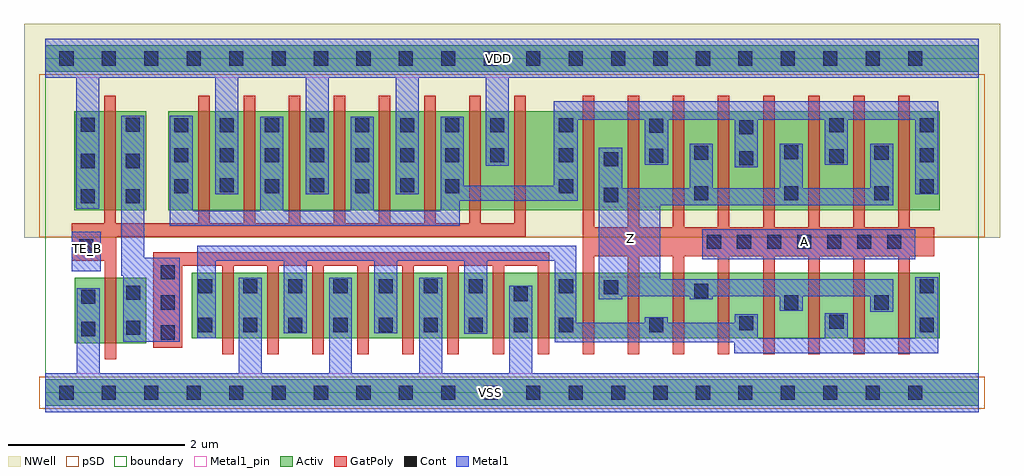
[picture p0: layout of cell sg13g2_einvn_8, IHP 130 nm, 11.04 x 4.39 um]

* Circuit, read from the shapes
.subckt sg13g2_einvn_8 A TE_B VDD VSS Z
XM1 n1 TE_B VSS VSS sg13_lv_nmos w=0.74u l=0.13u
XM2 VSS n1 n2 VSS sg13_lv_nmos w=0.74u l=0.13u m=8
XM3 Z A n2 VSS sg13_lv_nmos w=0.74u l=0.13u m=8
XM4 n1 TE_B VDD VDD sg13_lv_pmos w=1.12u l=0.13u
XM5 VDD TE_B n3 VDD sg13_lv_pmos w=1.12u l=0.13u m=8
XM6 Z A n3 VDD sg13_lv_pmos w=1.12u l=0.13u m=8
.ends

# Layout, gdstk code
import gdstk
lib = gdstk.Library(unit=1e-6, precision=1e-09)
def R(c, l, rs):  # rectangles x0, y0, x1, y1
    for r in rs: c.add(gdstk.rectangle(r[:2], r[2:], *l))
def A(c, l, x, y, w, h, nx, ny, dx, dy):  # array of equal rectangles
    R(c, l, [(x+i*dx, y+j*dy, x+i*dx+w, y+j*dy+h) for i in range(nx) for j in range(ny)])
def P(c, l, *ps):  # polygons
    for p in ps: c.add(gdstk.Polygon(p, *l))
Activ = (1, 0)
GatPoly = (5, 0)
Cont = (6, 0)
Metal1 = (8, 0)
Metal1_pin = (8, 2)
pSD = (14, 0)
NWell = (31, 0)
boundary = (189, 4)

sg13g2_einvn_8 = lib.new_cell('sg13g2_einvn_8')
R(sg13g2_einvn_8, Activ, [(0,-0.15,10.56,0.15), (0.335,0.56,1.145,1.3), (1.66,0.615,10.12,1.355), (0.33,2.06,1.14,3.18), (1.39,2.06,10.12,3.18), (0,3.63,10.56,3.93)])
P(sg13g2_einvn_8, GatPoly, [(6.08,0.435),(6.08,3.36),(6.21,3.36),(6.21,1.87),(6.59,1.87),(6.59,3.36),(6.72,3.36),(6.72,1.87),(7.1,1.87),(7.1,3.36),(7.23,3.36),(7.23,1.87),(7.61,1.87),(7.61,3.36),(7.74,3.36),(7.74,1.87),(8.12,1.87),(8.12,3.36),(8.25,3.36),(8.25,1.87),(8.63,1.87),(8.63,3.36),(8.76,3.36),(8.76,1.87),(9.14,1.87),(9.14,3.36),(9.27,3.36),(9.27,1.87),(9.65,1.87),(9.65,3.36),(9.78,3.36),(9.78,1.87),(10.055,1.87),(10.055,1.54),(9.78,1.54),(9.78,0.435),(9.65,0.435),(9.65,1.54),(9.27,1.54),(9.27,0.435),(9.14,0.435),(9.14,1.54),(8.76,1.54),(8.76,0.435),(8.63,0.435),(8.63,1.54),(8.25,1.54),(8.25,0.435),(8.12,0.435),(8.12,1.54),(7.74,1.54),(7.74,0.435),(7.61,0.435),(7.61,1.54),(7.23,1.54),(7.23,0.435),(7.1,0.435),(7.1,1.54),(6.72,1.54),(6.72,0.435),(6.59,0.435),(6.59,1.54),(6.21,1.54),(6.21,0.435)],
  [(2,0.435),(2,1.435),(1.55,1.435),(1.55,0.51),(1.22,0.51),(1.22,1.585),(5.7,1.585),(5.7,0.435),(5.57,0.435),(5.57,1.435),(5.19,1.435),(5.19,0.435),(5.06,0.435),(5.06,1.435),(4.68,1.435),(4.68,0.435),(4.55,0.435),(4.55,1.435),(4.17,1.435),(4.17,0.435),(4.04,0.435),(4.04,1.435),(3.66,1.435),(3.66,0.435),(3.53,0.435),(3.53,1.435),(3.15,1.435),(3.15,0.435),(3.02,0.435),(3.02,1.435),(2.64,1.435),(2.64,0.435),(2.51,0.435),(2.51,1.435),(2.13,1.435),(2.13,0.435)],
  [(0.675,0.38),(0.675,1.49),(0.3,1.49),(0.3,1.915),(0.67,1.915),(0.67,3.36),(0.8,3.36),(0.8,1.915),(1.73,1.915),(1.73,3.36),(1.86,3.36),(1.86,1.915),(2.245,1.915),(2.245,3.36),(2.375,3.36),(2.375,1.915),(2.755,1.915),(2.755,3.36),(2.885,3.36),(2.885,1.915),(3.265,1.915),(3.265,3.36),(3.395,3.36),(3.395,1.915),(3.775,1.915),(3.775,3.36),(3.905,3.36),(3.905,1.915),(4.285,1.915),(4.285,3.36),(4.415,3.36),(4.415,1.915),(4.795,1.915),(4.795,3.36),(4.925,3.36),(4.925,1.915),(5.305,1.915),(5.305,3.36),(5.435,3.36),(5.435,1.765),(0.805,1.765),(0.805,0.38)])
A(sg13g2_einvn_8, Cont, 0.16, -0.08, 0.16, 0.16, 21, 2, 0.48, 3.78)
A(sg13g2_einvn_8, Cont, 1.305, 0.6, 0.16, 0.16, 1, 3, 0, 0.34)
A(sg13g2_einvn_8, Cont, 1.73, 0.685, 0.16, 0.16, 9, 1, 0.51, 0)
A(sg13g2_einvn_8, Cont, 1.73, 1.125, 0.16, 0.16, 7, 1, 0.51, 0)
A(sg13g2_einvn_8, Cont, 7.485, 1.625, 0.16, 0.16, 7, 1, 0.34, 0)
A(sg13g2_einvn_8, Cont, 7.34, 2.175, 0.16, 0.16, 3, 1, 1.02, 0)
A(sg13g2_einvn_8, Cont, 2.485, 2.255, 0.16, 0.16, 3, 1, 1.02, 0)
A(sg13g2_einvn_8, Cont, 1.975, 2.265, 0.16, 0.16, 3, 1, 1.02, 0)
A(sg13g2_einvn_8, Cont, 1.975, 2.605, 0.16, 0.16, 7, 2, 0.51, 0.34)
R(sg13g2_einvn_8, Cont, [(0.405,0.64,0.565,0.8), (0.915,0.655,1.075,0.815), (6.83,0.685,6.99,0.845), (9.89,0.685,10.05,0.845), (7.85,0.705,8.01,0.865), (8.87,0.72,9.03,0.88), (8.36,0.94,8.52,1.1), (9.38,0.94,9.54,1.1), (0.405,1.005,0.565,1.165), (5.3,1.035,5.46,1.195), (0.915,1.05,1.075,1.21), (7.34,1.07,7.5,1.23), (6.32,1.11,6.48,1.27), (5.81,1.125,5.97,1.285), (9.89,1.125,10.05,1.285), (0.385,1.575,0.545,1.735), (0.4,2.14,0.56,2.3), (0.91,2.14,1.07,2.3), (6.32,2.155,6.48,2.315), (1.46,2.255,1.62,2.415), (5.81,2.255,5.97,2.415), (9.89,2.255,10.05,2.415), (0.4,2.54,0.56,2.7), (0.91,2.54,1.07,2.7), (6.32,2.56,6.48,2.72), (7.85,2.57,8.01,2.73), (8.87,2.595,9.03,2.755), (6.83,2.6,6.99,2.76), (1.46,2.605,1.62,2.765), (5.81,2.605,5.97,2.765), (9.89,2.605,10.05,2.765), (7.34,2.635,7.5,2.795), (9.38,2.635,9.54,2.795), (8.36,2.64,8.52,2.8), (7.85,2.92,8.01,3.08), (6.83,2.94,6.99,3.1), (1.46,2.945,1.62,3.105), (5.81,2.945,5.97,3.105), (8.87,2.945,9.03,3.105), (9.89,2.945,10.05,3.105), (0.4,2.95,0.56,3.11), (0.91,2.95,1.07,3.11)])
R(sg13g2_einvn_8, Metal1, [(0.3,1.37,0.63,1.82), (7.43,1.51,9.84,1.845)])
P(sg13g2_einvn_8, Metal1, [(0,-0.22),(0,0.22),(0.355,0.22),(0.355,1.18),(0.615,1.18),(0.615,0.22),(2.19,0.22),(2.19,1.3),(2.45,1.3),(2.45,0.22),(3.21,0.22),(3.21,1.3),(3.47,1.3),(3.47,0.22),(4.23,0.22),(4.23,1.3),(4.49,1.3),(4.49,0.22),(5.25,0.22),(5.25,1.21),(5.51,1.21),(5.51,0.22),(10.56,0.22),(10.56,-0.22)],
  [(0.35,2.08),(0.35,3.56),(0,3.56),(0,4),(10.56,4),(10.56,3.56),(5.245,3.56),(5.245,2.565),(4.985,2.565),(4.985,3.56),(4.225,3.56),(4.225,2.245),(3.965,2.245),(3.965,3.56),(3.205,3.56),(3.205,2.245),(2.945,2.245),(2.945,3.56),(2.185,3.56),(2.185,2.245),(1.925,2.245),(1.925,3.56),(0.61,3.56),(0.61,2.08)],
  [(7.795,0.445),(7.795,0.57),(5.765,0.57),(5.765,1.49),(5,1.49),(5,0.665),(4.74,0.665),(4.74,1.49),(3.98,1.49),(3.98,0.67),(3.72,0.67),(3.72,1.49),(2.96,1.49),(2.96,0.67),(2.7,0.67),(2.7,1.49),(1.93,1.49),(1.93,0.615),(1.72,0.615),(1.72,1.66),(6.005,1.66),(6.005,0.79),(6.78,0.79),(6.78,0.855),(7.04,0.855),(7.04,0.79),(7.8,0.79),(7.8,0.885),(8.06,0.885),(8.06,0.615),(8.82,0.615),(8.82,0.9),(9.08,0.9),(9.08,0.615),(9.84,0.615),(9.84,1.305),(10.1,1.305),(10.1,0.445)],
  [(1.41,1.885),(1.41,3.13),(1.67,3.13),(1.67,2.055),(2.435,2.055),(2.435,3.12),(2.695,3.12),(2.695,2.055),(3.455,2.055),(3.455,3.12),(3.715,3.12),(3.715,2.055),(4.475,2.055),(4.475,3.12),(4.735,3.12),(4.735,2.34),(5.75,2.34),(5.75,3.295),(10.1,3.295),(10.1,2.245),(9.84,2.245),(9.84,3.085),(9.08,3.085),(9.08,2.575),(8.82,2.575),(8.82,3.085),(8.06,3.085),(8.06,2.55),(7.8,2.55),(7.8,3.085),(7.045,3.085),(7.045,2.58),(6.78,2.58),(6.78,3.085),(6.025,3.085),(6.025,2.17),(4.69,2.17),(4.69,1.885)],
  [(9.33,0.915),(9.33,1.09),(8.57,1.09),(8.57,0.925),(8.31,0.925),(8.31,1.09),(7.55,1.09),(7.55,1.055),(7.29,1.055),(7.29,1.09),(6.525,1.09),(6.525,1.055),(6.26,1.055),(6.26,2.77),(6.525,2.77),(6.525,2.31),(7.29,2.31),(7.29,2.815),(7.55,2.815),(7.55,2.31),(8.31,2.31),(8.31,2.815),(8.57,2.815),(8.57,2.31),(9.33,2.31),(9.33,2.815),(9.59,2.815),(9.59,2.12),(6.955,2.12),(6.955,1.28),(9.59,1.28),(9.59,0.915)],
  [(0.88,0.575),(0.88,1.32),(0.86,1.32),(0.86,3.13),(1.12,3.13),(1.12,1.525),(1.52,1.525),(1.52,0.575)])
R(sg13g2_einvn_8, Metal1_pin, [(0,-0.22,10.56,0.22), (6.26,1.305,6.955,2.1), (0.3,1.37,0.63,1.82), (7.43,1.51,9.84,1.845), (0,3.56,10.56,4)])
R(sg13g2_einvn_8, pSD, [(-0.07,-0.18,10.63,0.18), (-0.07,1.76,10.63,3.6)])
R(sg13g2_einvn_8, NWell, [(-0.24,1.75,10.8,4.17)])
R(sg13g2_einvn_8, boundary, [(0,0,10.56,3.78)])
sg13g2_einvn_8.add(gdstk.Label('A', (8.585,1.705), layer=8, texttype=25))
sg13g2_einvn_8.add(gdstk.Label('Z', (6.625,1.745), layer=8, texttype=25))
sg13g2_einvn_8.add(gdstk.Label('TE_B', (0.48,1.63), layer=8, texttype=25))
sg13g2_einvn_8.add(gdstk.Label('VDD', (5.13,3.78), layer=8, texttype=25))
sg13g2_einvn_8.add(gdstk.Label('VSS', (5.04,0), layer=8, texttype=25))

lib.write_gds('sg13g2_einvn_8.gds')
